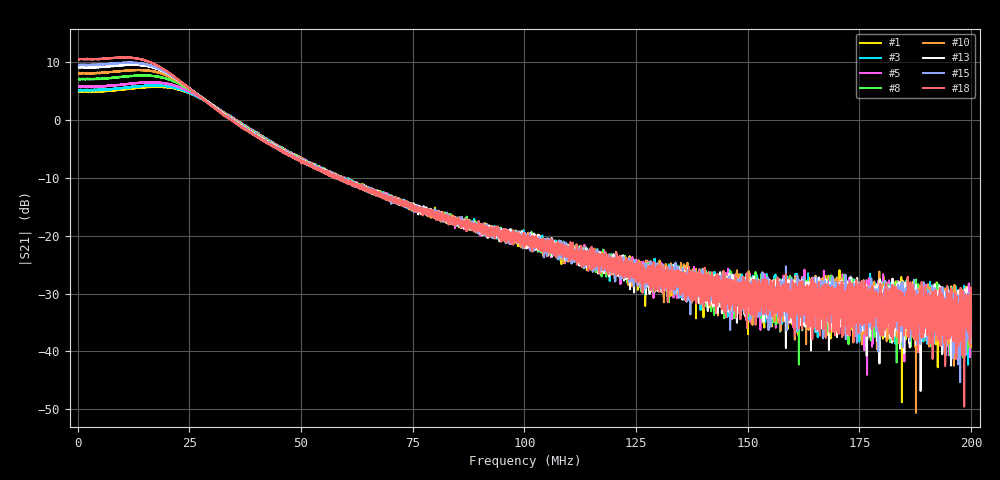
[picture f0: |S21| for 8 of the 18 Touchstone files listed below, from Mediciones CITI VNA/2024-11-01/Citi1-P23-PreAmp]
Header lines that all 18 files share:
# Hz S DB R 50
! CMT, M5065, 19127446, 24.2.4/2
! Data: Format (Calibration Info)
! Freq	S11:dB/Ang(F2)	S21:dB/Ang(F2)	S12:dB/Ang(F2)	S22:dB/Ang(F2)
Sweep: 300 kHz to 200 MHz
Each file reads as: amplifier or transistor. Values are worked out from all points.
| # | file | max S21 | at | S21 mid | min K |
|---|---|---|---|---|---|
| 1 | ganancia_1.s2p | 5.8 dB | 16.99 MHz | -20.8 dB at 100.2 MHz | -1780.23 |
| 2 | ganancia_2.s2p | 5.9 dB | 16.99 MHz | -21.2 dB at 100.2 MHz | -3129.87 |
| 3 | ganancia_3.s2p | 6.0 dB | 17.08 MHz | -20.4 dB at 100.2 MHz | -1017.88 |
| 4 | ganancia_5.s2p | 6.3 dB | 16.68 MHz | -21.3 dB at 100.2 MHz | -515.50 |
| 5 | ganancia_7.s2p | 6.6 dB | 15.66 MHz | -20.2 dB at 100.2 MHz | -585.80 |
| 6 | ganancia_12.s2p | 7.3 dB | 15.52 MHz | -20.4 dB at 100.2 MHz | -126.94 |
| 7 | ganancia_13.s2p | 7.5 dB | 15.39 MHz | -21.3 dB at 100.2 MHz | -17.39 |
| 8 | ganancia_15.s2p | 7.7 dB | 14.97 MHz | -21.1 dB at 100.2 MHz | 6.05 |
| 9 | ganancia_16.s2p | 8.0 dB | 13.61 MHz | -20.5 dB at 100.2 MHz | 6.10 |
| 10 | ganancia_20.s2p | 8.7 dB | 13.57 MHz | -21.6 dB at 100.2 MHz | 5.87 |
| 11 | ganancia_21.s2p | 8.8 dB | 13.04 MHz | -20.8 dB at 100.2 MHz | 5.49 |
| 12 | ganancia_24.s2p | 9.4 dB | 11.8 MHz | -21.2 dB at 100.2 MHz | 4.89 |
| 13 | ganancia_25.s2p | 9.6 dB | 11.71 MHz | -20.5 dB at 100.2 MHz | 4.42 |
| 14 | ganancia_26.s2p | 9.7 dB | 11.62 MHz | -21.1 dB at 100.2 MHz | 4.40 |
| 15 | ganancia_27.s2p | 9.9 dB | 12.17 MHz | -20.8 dB at 100.2 MHz | 4.95 |
| 16 | ganancia_29.s2p | 10.4 dB | 11.42 MHz | -20.6 dB at 100.2 MHz | 4.05 |
| 17 | ganancia_30.s2p | 10.6 dB | 10.93 MHz | -20.8 dB at 100.2 MHz | 3.63 |
| 18 | ganancia_31.s2p | 10.8 dB | 10.4 MHz | -21.0 dB at 100.2 MHz | 3.43 |
